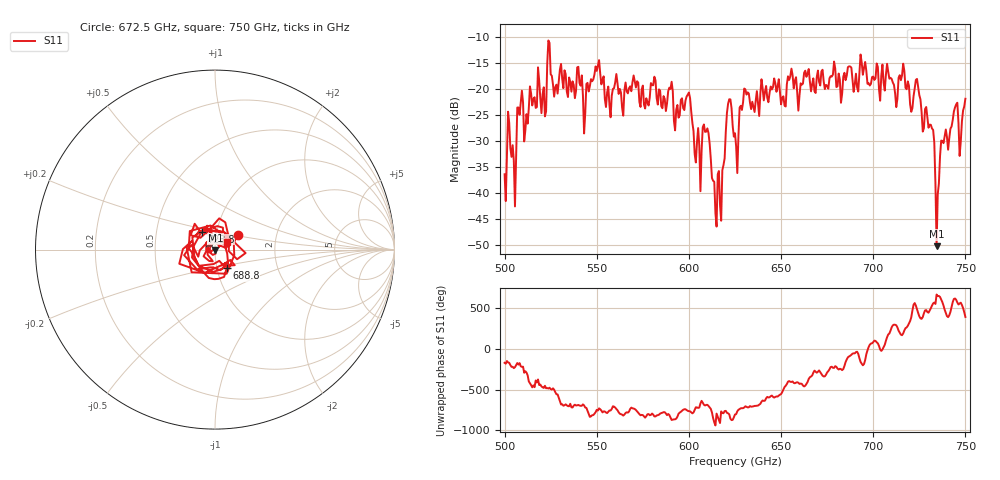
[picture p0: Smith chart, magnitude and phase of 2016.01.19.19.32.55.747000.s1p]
!Created with skrf (http://scikit-rf.org).
# GHz S RI R 50.0
!freq ReS11 ImS11
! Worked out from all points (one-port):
!   401 points, 500 GHz to 750 GHz, reference 50 ohm
!   lowest |S11| = -50.2 dB at 734.4 GHz (marker M1), VSWR 1.01, Z = 50.2 - j0.246 ohm
!   |S11| at or under -10 dB: start of sweep to end of sweep
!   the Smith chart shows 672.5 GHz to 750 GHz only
!   S11 on the Smith chart (normalised r, x): 672.5 GHz: 1.27, +0.22; 688.8 GHz: 1.11, -0.23; 723.8 GHz: 0.85, +0.17; 750 GHz: 1.14, +0.10
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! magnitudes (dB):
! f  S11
! 500 GHz  -36.4
! 503.1 GHz  -31.4
! 505 GHz  -33.8
! 508.1 GHz  -25.0
! 511.9 GHz  -24.8
! 521.2 GHz  -19.7
! 524.4 GHz  -11.2
! 531.2 GHz  -18.1
! 562.5 GHz  -20.0
! 590 GHz  -20.0
! 593.8 GHz  -23.1
! 599.4 GHz  -21.1
! 605 GHz  -27.5
! 609.4 GHz  -28.2
! 616.2 GHz  -35.7
! 621.9 GHz  -22.0
! 625 GHz  -28.5
! 631.2 GHz  -21.1
! 656.2 GHz  -17.4
! 672.5 GHz  -16.3
! 687.5 GHz  -15.7
! 688.8 GHz  -18.3
! 718.8 GHz  -18.5
! 723.8 GHz  -18.1
! 731.9 GHz  -27.6
! 734.4 GHz  -50.2
! 738.1 GHz  -30.4
! 750 GHz  -21.9
